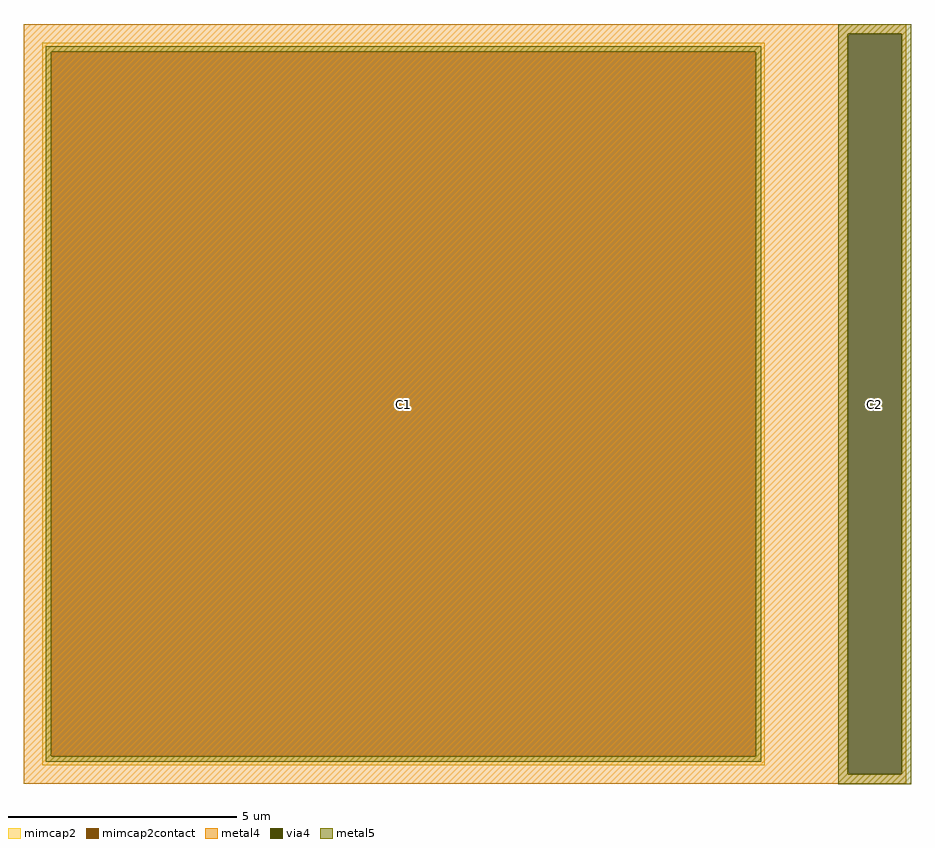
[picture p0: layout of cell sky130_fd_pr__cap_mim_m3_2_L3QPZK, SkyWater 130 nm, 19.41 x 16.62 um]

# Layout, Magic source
magic
tech sky130A
magscale 1 2
<< metal4 >>
rect -1930 1620 1930 1661
rect -1930 -1620 1674 1620
rect 1910 -1620 1930 1620
rect -1930 -1661 1930 -1620
<< via4 >>
rect 1674 -1620 1910 1620
<< mimcap2 >>
rect -1850 1541 1312 1581
rect -1850 -1541 -1810 1541
rect 1272 -1541 1312 1541
rect -1850 -1581 1312 -1541
<< mimcap2contact >>
rect -1810 -1541 1272 1541
<< metal5 >>
rect 1632 1620 1952 1662
rect -1834 1541 1296 1565
rect -1834 -1541 -1810 1541
rect 1272 -1541 1296 1541
rect -1834 -1565 1296 -1541
rect 1632 -1620 1674 1620
rect 1910 -1620 1952 1620
rect 1632 -1662 1952 -1620
<< labels >>
rlabel via4 1792 0 1792 0 0 C2
port 3 nsew
rlabel mimcap2contact -269 0 -269 0 0 C1
port 4 nsew
<< properties >>
string FIXED_BBOX -1930 -1661 1392 1661
string gencell sky130_fd_pr__cap_mim_m3_2
string library sky130
string parameters w 15.81 l 15.81 val 511.927 carea 2.00 cperi 0.19 class capacitor nx 1 ny 1 dummy 0 square 0 lmin 2.00 wmin 2.00 lmax 30.0 wmax 30.0 dc 0 bconnect 1 tconnect 1 ccov 100 doports 1
<< end >>
